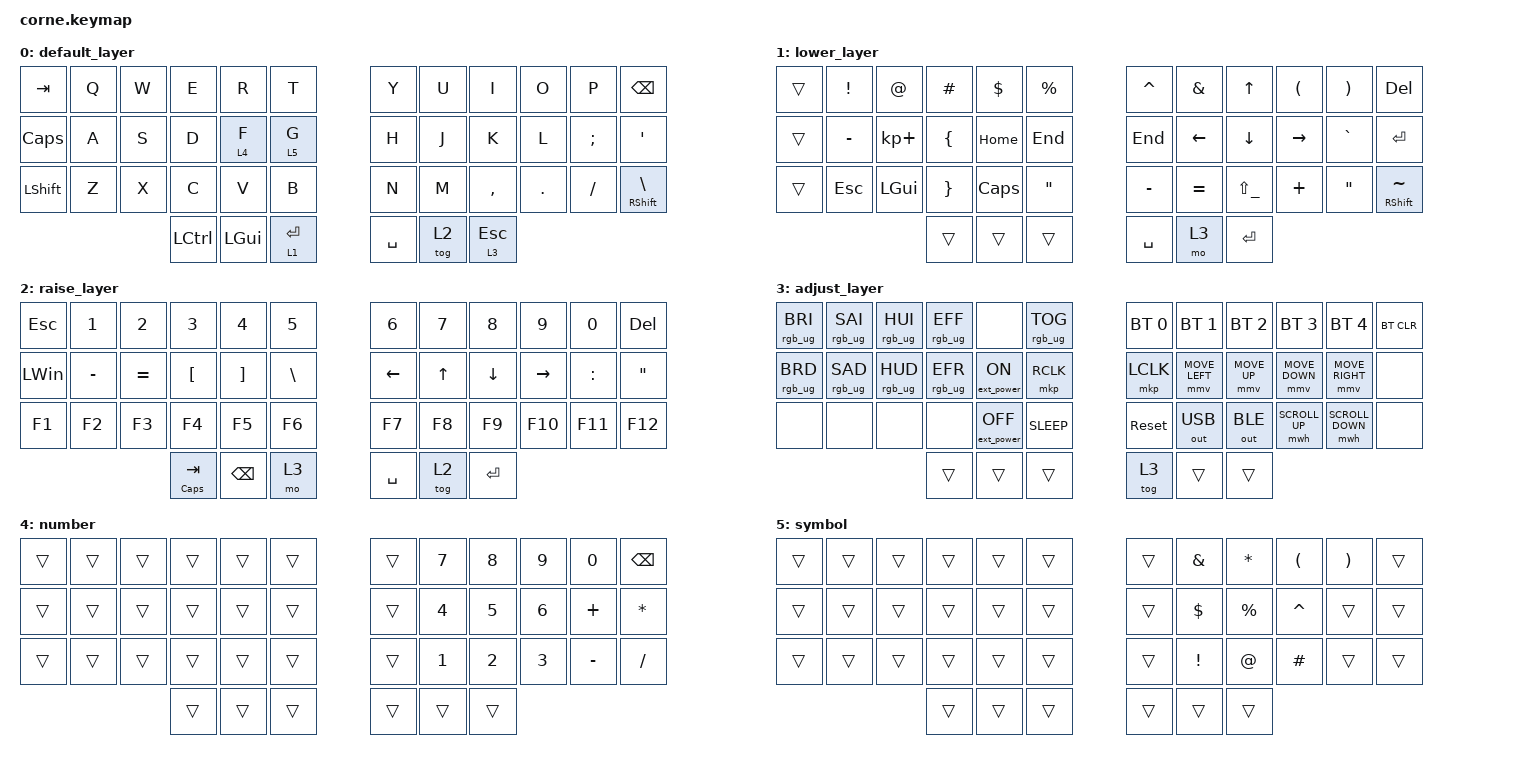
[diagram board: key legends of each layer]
/*
 * Copyright (c) 2020 The ZMK Contributors
 *
 * SPDX-License-Identifier: MIT
 */

#include <behaviors.dtsi>
#include <dt-bindings/zmk/bt.h>
#include <dt-bindings/zmk/ext_power.h>
#include <dt-bindings/zmk/keys.h>
#include <dt-bindings/zmk/mouse.h>
#include <dt-bindings/zmk/outputs.h>
#include <dt-bindings/zmk/rgb.h>

/ {
    combos {
        compatible = "zmk,combos";

        cb_Esc {
            bindings = <&kp ESCAPE>;
            key-positions = <18 19>;
        };

        cb_closew {
            bindings = <&kp RA(F4)>;
            key-positions = <1 2>;
        };

        cb_quicker {
            bindings = <&kp LG(GRAVE)>;
            key-positions = <2 3>;
        };

        cb_ditto {
            bindings = <&kp LA(GRAVE)>;
            key-positions = <3 4>;
        };
    };

    keymap {
        compatible = "zmk,keymap";

        default_layer {
            // -------------------------------------------------------------------------------------
            // |  TAB |  Q  |  W  |  E  |  R  |  T  |       |  Y  |  U   |  I  |  O  |  P  |   BKSP    |
            // | SHFT |  A  |  S  |  D  |  F  |  G  |       |  H  |  J   |  K  |  L  |  ;  |    '      |
            // | CTRL |  Z  |  X  |  C  |  V  |  B  |       |  N  |  M   |  ,  |  .  |  /  | SHFT(RET) |
            //                    | ALT | WIN | LWR |       | RSE | SPC  | RTN |

            bindings = <
&kp TAB         &kp Q  &kp W  &kp E      &kp R     &kp T          &kp Y      &kp U   &kp I         &kp O    &kp P     &kp BSPC
&kp CAPS        &kp A  &kp S  &kp D      &lt 4 F   &lt 5 G        &kp H      &kp J   &kp K         &kp L    &kp SEMI  &kp SQT
&kp LEFT_SHIFT  &kp Z  &kp X  &kp C      &kp V     &kp B          &kp N      &kp M   &kp COMMA     &kp DOT  &kp FSLH  &mt RSHFT BACKSLASH
                              &kp LCTRL  &kp LGUI  &lt 1 ENTER    &kp SPACE  &tog 2  &lt 3 ESCAPE
            >;
        };

        lower_layer {
            // ----------------------------------------------------------------------------------
            // |    |  !  |  @  |  #  |  $  |  %  |          |  ^  |  &  |  *  |  (  |  )  |    DEL   |
            // |    |  _  |  +  |  {  |  }  | "|" |          | LFT | PGUP|  UP |PGDN|  `  |     ~     |
            // |    | ESC | GUI | ALT | CAPS|  "  |          | HOME| LFT | DWN | RGT| PRSC| SHFT(RET) |
            //                        |     |     |           | ADJ | SPC |  RET  |

            bindings = <
&trans  &kp EXCL   &kp AT       &kp HASH         &kp DLLR  &kp PRCNT    &kp CARET  &kp AMPS        &kp UP_ARROW        &kp LPAR   &kp RPAR           &kp DEL
&trans  &kp MINUS  &kp KP_PLUS  &kp LBRC         &kp HOME  &kp END      &kp END    &kp LEFT_ARROW  &kp DOWN            &kp RIGHT  &kp GRAVE          &kp RETURN
&trans  &kp ESC    &kp LGUI     &kp RIGHT_BRACE  &kp CLCK  &kp DQT      &kp MINUS  &kp EQUAL       &kp LS(UNDERSCORE)  &kp PLUS   &kp DOUBLE_QUOTES  &mt RSHFT TILDE
                                &trans           &trans    &trans       &kp SPACE  &mo 3           &kp RET
            >;
        };

        raise_layer {
            // -----------------------------------------------------------------------------------------
            // |    |  1  |  2  |  3  |  4  |  5  |   |  6  |  7  |  8  |  9  |  0  | DEL |
            // |    |  -  |  =  |  [  |  ]  |  \  |   | F1  | F2  | F3  | F4  | F5  | F6  |
            // |    | ESC | GUI | ALT | CAPS|  "  |   | F7  | F8  | F9  | F10 | F11 | F12 |
            //                       |     | ADJ | BKSP |    |     |

            bindings = <
&kp ESC       &kp N1     &kp N2     &kp N3            &kp N4         &kp N5      &kp N6     &kp N7        &kp N8      &kp N9     &kp N0     &kp DEL
&kp LEFT_WIN  &kp MINUS  &kp EQUAL  &kp LBKT          &kp RBKT       &kp BSLH    &kp LEFT   &kp UP_ARROW  &kp DOWN    &kp RIGHT  &kp COLON  &kp DOUBLE_QUOTES
&kp F1        &kp F2     &kp F3     &kp F4            &kp F5         &kp F6      &kp F7     &kp F8        &kp F9      &kp F10    &kp F11    &kp F12
                                    &mt CAPSLOCK TAB  &kp BACKSPACE  &mo 3       &kp SPACE  &tog 2        &kp RETURN
            >;
        };

        adjust_layer {
            // -----------------------------------------------------------------------------------------
            // | RGB BRI+ | RGB SAT+ | RGB HUE+ | RGB ANI+ |    | RGB TOG |   |  BT1  | BT2 | BT3 | BT4 | BT5 | BT CLR |
            // | RGB BRI- | RGB SAT- | RGB HUE- | RGB ANI- |    |         |   |  USB  | BLE |     |     |     |        |
            // |          |          |          |          |    | K_SLEEP |   | RESET |     |     |     |     |        |
            //                                              |     |     |     |     |     |

            bindings = <
&rgb_ug RGB_BRI  &rgb_ug RGB_SAI  &rgb_ug RGB_HUI  &rgb_ug RGB_EFF  &none              &rgb_ug RGB_TOG    &bt BT_SEL 0  &bt BT_SEL 1    &bt BT_SEL 2  &bt BT_SEL 3    &bt BT_SEL 4      &bt BT_CLR
&rgb_ug RGB_BRD  &rgb_ug RGB_SAD  &rgb_ug RGB_HUD  &rgb_ug RGB_EFR  &ext_power EP_ON   &mkp RCLK          &mkp LCLK     &mmv MOVE_LEFT  &mmv MOVE_UP  &mmv MOVE_DOWN  &mmv MOVE_RIGHT   &none
&none            &none            &none            &none            &ext_power EP_OFF  &kp K_SLEEP        &sys_reset    &out OUT_USB    &out OUT_BLE  &mwh SCROLL_UP  &mwh SCROLL_DOWN  &none
                                                   &trans           &trans             &trans             &tog 3        &trans          &trans
            >;
        };

        number {
            bindings = <
&trans  &trans  &trans  &trans  &trans  &trans    &trans  &kp N7        &kp NUMBER_8  &kp N9        &kp N0     &kp BACKSPACE
&trans  &trans  &trans  &trans  &trans  &trans    &trans  &kp NUMBER_4  &kp N5        &kp NUMBER_6  &kp PLUS   &kp STAR
&trans  &trans  &trans  &trans  &trans  &trans    &trans  &kp NUMBER_1  &kp NUMBER_2  &kp NUMBER_3  &kp MINUS  &kp SLASH
                        &trans  &trans  &trans    &trans  &trans        &trans
            >;
        };

        symbol {
            bindings = <
&trans  &trans  &trans  &trans  &trans  &trans    &trans  &kp AMPERSAND  &kp ASTERISK  &kp LEFT_PARENTHESIS  &kp RIGHT_PARENTHESIS  &trans
&trans  &trans  &trans  &trans  &trans  &trans    &trans  &kp DOLLAR     &kp PERCENT   &kp CARET             &trans                 &trans
&trans  &trans  &trans  &trans  &trans  &trans    &trans  &kp EXCL       &kp AT_SIGN   &kp HASH              &trans                 &trans
                        &trans  &trans  &trans    &trans  &trans         &trans
            >;
        };
    };
};
